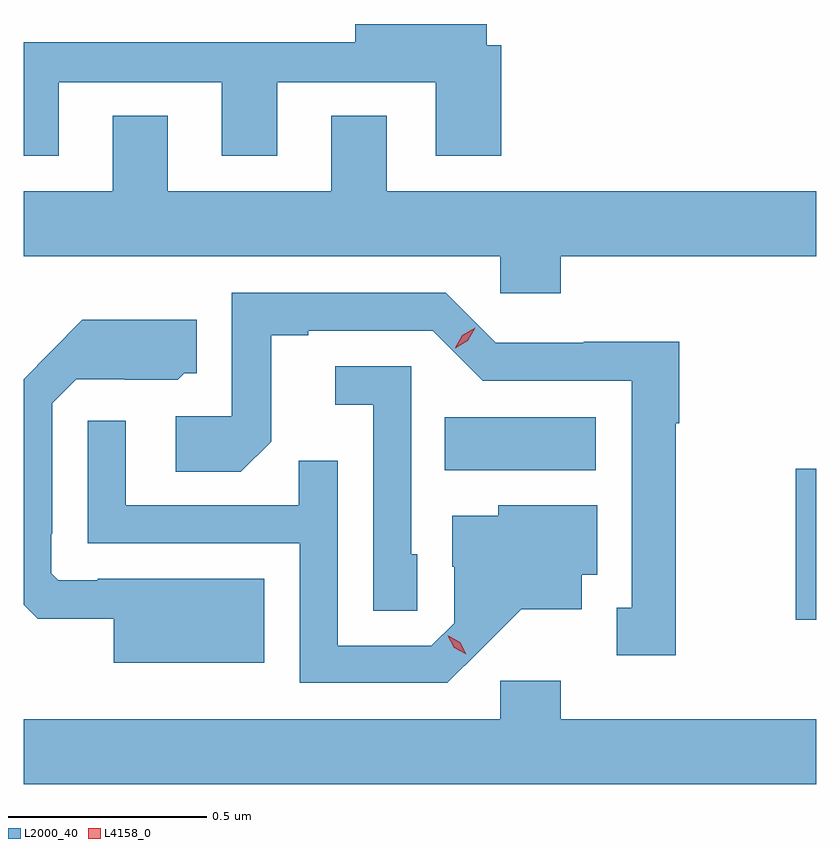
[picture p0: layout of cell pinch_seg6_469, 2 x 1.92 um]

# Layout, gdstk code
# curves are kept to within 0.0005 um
import gdstk
lib = gdstk.Library(unit=1e-6, precision=1e-09)
def R(c, l, rs):  # rectangles x0, y0, x1, y1
    for r in rs: c.add(gdstk.rectangle(r[:2], r[2:], *l))
def P(c, l, *ps):  # polygons
    for p in ps: c.add(gdstk.Polygon(p, *l))
L2000_40 = (2000, 40)
L4158_0 = (4158, 0)

pinch_seg6_469 = lib.new_cell('pinch_seg6_469')
R(pinch_seg6_469, L2000_40, [(715.231,925.107,715.283,925.488), (714.346,925.484,714.727,925.618)])
P(pinch_seg6_469, L2000_40, [(713.371,926.463),(713.783,926.463),(713.783,926.277),(713.923,926.277),(713.923,926.463),(714.323,926.463),(714.323,926.277),(714.488,926.277),(714.488,926.556),(714.451,926.556),(714.451,926.61),(714.119,926.61),(714.119,926.564),(713.283,926.564),(713.283,926.277),(713.371,926.277)],
  [(714.638,926.024),(715.283,926.024),(715.283,926.188),(714.199,926.188),(714.199,926.378),(714.059,926.378),(714.059,926.188),(713.647,926.188),(713.647,926.378),(713.507,926.378),(713.507,926.188),(713.283,926.188),(713.283,926.024),(714.486,926.024),(714.486,925.931),(714.638,925.931)],
  [(714.929,925.603),(714.937,925.603),(714.937,925.808),(714.696,925.808),(714.696,925.806),(714.474,925.806),(714.348,925.932),(713.808,925.932),(713.808,925.62),(713.667,925.62),(713.667,925.48),(713.831,925.48),(713.907,925.556),(713.907,925.824),(714.001,925.824),(714.001,925.836),(714.315,925.836),(714.441,925.71),(714.818,925.71),(714.818,925.137),(714.779,925.137),(714.779,925.017),(714.929,925.017)],
  [(713.89,925.21),(713.47,925.21),(713.47,925.206),(713.37,925.206),(713.352,925.224),(713.352,925.324),(713.355,925.324),(713.355,925.653),(713.415,925.713),(713.538,925.713),(713.538,925.712),(713.672,925.712),(713.688,925.728),(713.719,925.728),(713.719,925.864),(713.431,925.864),(713.283,925.714),(713.283,925.144),(713.318,925.109),(713.51,925.109),(713.51,924.998),(713.89,924.998)],
  [(714.276,925.272),(714.261,925.272),(714.261,925.746),(714.069,925.746),(714.069,925.649),(714.165,925.649),(714.165,925.129),(714.276,925.129)],
  [(714.436,925.031),(714.539,925.133),(714.691,925.133),(714.691,925.22),(714.73,925.22),(714.73,925.396),(714.48,925.396),(714.48,925.369),(714.365,925.369),(714.365,925.24),(714.369,925.24),(714.369,925.098),(714.312,925.041),(714.075,925.041),(714.075,925.508),(713.977,925.508),(713.977,925.395),(713.541,925.395),(713.541,925.609),(713.445,925.609),(713.445,925.299),(713.979,925.299),(713.979,924.948),(714.352,924.948)],
  [(715.283,924.856),(714.638,924.856),(714.638,924.952),(714.486,924.952),(714.486,924.856),(713.283,924.856),(713.283,924.692),(715.283,924.692)])
P(pinch_seg6_469, L4158_0, [(714.4,925.02),(714.37,925.036),(714.353,925.066),(714.353,925.066),(714.354,925.066),(714.384,925.05),(714.4,925.02),(714.4,925.02)],
  [(714.372,925.792),(714.372,925.793),(714.39,925.825),(714.422,925.844),(714.422,925.844),(714.422,925.843),(714.404,925.811),(714.372,925.792)])

lib.write_gds('pinch_seg6_469.gds')
